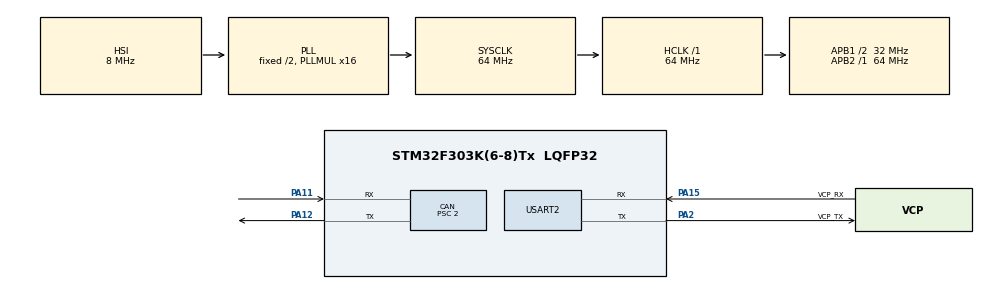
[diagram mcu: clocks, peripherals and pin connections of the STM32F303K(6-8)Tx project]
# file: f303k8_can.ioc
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CAN.BS1=CAN_BS1_7TQ
CAN.BS2=CAN_BS2_8TQ
CAN.CalculateTimeQuantum=62.5
CAN.Prescaler=2
Mcu.Family=STM32F3
Mcu.Name=STM32F303K(6-8)Tx
Mcu.Package=LQFP32
NVIC.PriorityGroup=NVIC_PRIORITYGROUP_4
PA11.Mode=Master
PA11.Signal=CAN_RX
PA12.Mode=Master
PA12.Signal=CAN_TX
PA13.GPIO_Label=SWDIO
PA13.Mode=Serial_Wire
PA13.Signal=SYS_JTMS-SWDIO
PA14.GPIO_Label=SWCLK
PA14.Mode=Serial_Wire
PA14.Signal=SYS_JTCK-SWCLK
PA15.GPIO_Label=VCP_RX
PA15.Mode=Asynchronous
PA15.Signal=USART2_RX
PA2.GPIO_Label=VCP_TX
PA2.Mode=Asynchronous
PA2.Signal=USART2_TX
PF0\ /\ OSC_IN.GPIO_Label=MCO
PF0\ /\ OSC_IN.Mode=HSE-External-Clock-Source
PF0\ /\ OSC_IN.Signal=RCC_OSC_IN
ProjectManager.HeapSize=0x200
ProjectManager.StackSize=0x400
ProjectManager.TargetToolchain=STM32CubeIDE
RCC.AHBFreq_Value=64000000
RCC.APB1CLKDivider=RCC_HCLK_DIV2
RCC.APB1Freq_Value=32000000
RCC.APB1TimFreq_Value=64000000
RCC.APB2Freq_Value=64000000
RCC.APB2TimFreq_Value=64000000
RCC.CortexFreq_Value=64000000
RCC.HCLKFreq_Value=64000000
RCC.HSE_VALUE=8000000
RCC.HSI_VALUE=8000000
RCC.PLLMUL=RCC_PLL_MUL16
RCC.SYSCLKFreq_VALUE=64000000
RCC.SYSCLKSourceVirtual=RCC_SYSCLKSOURCE_PLLCLK
USART2.VirtualMode-Asynchronous=VM_ASYNC
board=NUCLEO-F303K8

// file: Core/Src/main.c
/* USER CODE BEGIN Header */
/**
  ******************************************************************************
  * @file           : main.c
  * @brief          : Main program body
  ******************************************************************************
  * @attention
  *
  * <h2><center>&copy; Copyright (c) 2021 STMicroelectronics.
  * All rights reserved.</center></h2>
  *
  * This software component is licensed by ST under BSD 3-Clause license,
  * the "License"; You may not use this file except in compliance with the
  * License. You may obtain a copy of the License at:
  *                        opensource.org/licenses/BSD-3-Clause
  *
  ******************************************************************************
  */
/* USER CODE END Header */
#include "main.h"

/* USER CODE BEGIN Includes */
#include "xprintf.h"
/* USER CODE END Includes */

CAN_HandleTypeDef hcan;

UART_HandleTypeDef huart2;

void SystemClock_Config(void);
static void MX_GPIO_Init(void);
static void MX_USART2_UART_Init(void);
static void MX_CAN_Init(void);

/* USER CODE BEGIN 0 */
void uart_putc(uint8_t c) {
	char buf[1];
	buf[0] = c;
	HAL_UART_Transmit(&huart2, (uint8_t*) buf, sizeof(buf), 0xFFFF);
}
CAN_TxHeaderTypeDef   TxHeader;

uint8_t               TxData[8];
uint32_t              TxMailbox;
uint8_t cnt;

/* USER CODE END 0 */

int main(void)
{
  /* USER CODE BEGIN 1 */
	xdev_out(uart_putc);
  /* USER CODE END 1 */

  /* MCU Configuration--------------------------------------------------------*/

  /* Reset of all peripherals, Initializes the Flash interface and the Systick. */
  HAL_Init();

  /* Configure the system clock */
  SystemClock_Config();

  /* Initialize all configured peripherals */
  MX_GPIO_Init();
  MX_USART2_UART_Init();
  MX_CAN_Init();
  /* USER CODE BEGIN 2 */
  HAL_CAN_Start(&hcan);
  if (HAL_CAN_ActivateNotification(&hcan, CAN_IT_RX_FIFO0_MSG_PENDING) != HAL_OK)
   {

     Error_Handler();
   }
  /* USER CODE END 2 */

  /* Infinite loop */
  while (1)
  {

    /* USER CODE BEGIN 3 */
	  TxHeader.StdId = 0x123;
	  	  	  TxHeader.RTR = CAN_RTR_DATA;
	  	  	  TxHeader.IDE = CAN_ID_STD;
	  	  	  TxHeader.DLC = 8;
	  	  	  TxHeader.TransmitGlobalTime = DISABLE;
	  	  	  TxData[0] = 100;
	  	  	  TxData[1] = 200;
	  	  	  TxData[2] = cnt;

	  	  	  /* Request transmission */
	  	  	  if(HAL_CAN_AddTxMessage(&hcan, &TxHeader, TxData, &TxMailbox) != HAL_OK)
	  	  	  {
	  	  	    /* Transmission request Error */
	  	  	    Error_Handler();
	  	  	  }
	  	  	  HAL_Delay(10);
	  	  	  while(HAL_CAN_GetTxMailboxesFreeLevel(&hcan) != 3) {}

	  	  	   if(cnt>250){
	  	  		   cnt=0;
	  	  	   }
	  	  	   else{
	  	  		   cnt++;
	  	  	   }
	    }
  /* USER CODE END 3 */
}

void SystemClock_Config(void)
{
  RCC_OscInitTypeDef RCC_OscInitStruct = {0};
  RCC_ClkInitTypeDef RCC_ClkInitStruct = {0};

  /** Initializes the RCC Oscillators according to the specified parameters
  * in the RCC_OscInitTypeDef structure.
  */
  RCC_OscInitStruct.OscillatorType = RCC_OSCILLATORTYPE_HSI;
  RCC_OscInitStruct.HSIState = RCC_HSI_ON;
  RCC_OscInitStruct.HSICalibrationValue = RCC_HSICALIBRATION_DEFAULT;
  RCC_OscInitStruct.PLL.PLLState = RCC_PLL_ON;
  RCC_OscInitStruct.PLL.PLLSource = RCC_PLLSOURCE_HSI;
  RCC_OscInitStruct.PLL.PLLMUL = RCC_PLL_MUL16;
  if (HAL_RCC_OscConfig(&RCC_OscInitStruct) != HAL_OK)
  {
    Error_Handler();
  }
  /** Initializes the CPU, AHB and APB buses clocks
  */
  RCC_ClkInitStruct.ClockType = RCC_CLOCKTYPE_HCLK|RCC_CLOCKTYPE_SYSCLK
                              |RCC_CLOCKTYPE_PCLK1|RCC_CLOCKTYPE_PCLK2;
  RCC_ClkInitStruct.SYSCLKSource = RCC_SYSCLKSOURCE_PLLCLK;
  RCC_ClkInitStruct.AHBCLKDivider = RCC_SYSCLK_DIV1;
  RCC_ClkInitStruct.APB1CLKDivider = RCC_HCLK_DIV2;
  RCC_ClkInitStruct.APB2CLKDivider = RCC_HCLK_DIV1;

  if (HAL_RCC_ClockConfig(&RCC_ClkInitStruct, FLASH_LATENCY_2) != HAL_OK)
  {
    Error_Handler();
  }
}

static void MX_CAN_Init(void)
{

  hcan.Instance = CAN;
  hcan.Init.Prescaler = 2;
  hcan.Init.Mode = CAN_MODE_NORMAL;
  hcan.Init.SyncJumpWidth = CAN_SJW_1TQ;
  hcan.Init.TimeSeg1 = CAN_BS1_7TQ;
  hcan.Init.TimeSeg2 = CAN_BS2_8TQ;
  hcan.Init.TimeTriggeredMode = DISABLE;
  hcan.Init.AutoBusOff = DISABLE;
  hcan.Init.AutoWakeUp = DISABLE;
  hcan.Init.AutoRetransmission = DISABLE;
  hcan.Init.ReceiveFifoLocked = DISABLE;
  hcan.Init.TransmitFifoPriority = DISABLE;
  if (HAL_CAN_Init(&hcan) != HAL_OK)
  {
    Error_Handler();
  }

}

static void MX_USART2_UART_Init(void)
{

  huart2.Instance = USART2;
  huart2.Init.BaudRate = 38400;
  huart2.Init.WordLength = UART_WORDLENGTH_8B;
  huart2.Init.StopBits = UART_STOPBITS_1;
  huart2.Init.Parity = UART_PARITY_NONE;
  huart2.Init.Mode = UART_MODE_TX_RX;
  huart2.Init.HwFlowCtl = UART_HWCONTROL_NONE;
  huart2.Init.OverSampling = UART_OVERSAMPLING_16;
  huart2.Init.OneBitSampling = UART_ONE_BIT_SAMPLE_DISABLE;
  huart2.AdvancedInit.AdvFeatureInit = UART_ADVFEATURE_NO_INIT;
  if (HAL_UART_Init(&huart2) != HAL_OK)
  {
    Error_Handler();
  }

}

static void MX_GPIO_Init(void)
{

  /* GPIO Ports Clock Enable */
  __HAL_RCC_GPIOF_CLK_ENABLE();
  __HAL_RCC_GPIOA_CLK_ENABLE();

}

void Error_Handler(void)
{
}

/************************ (C) COPYRIGHT STMicroelectronics *****END OF FILE****/
